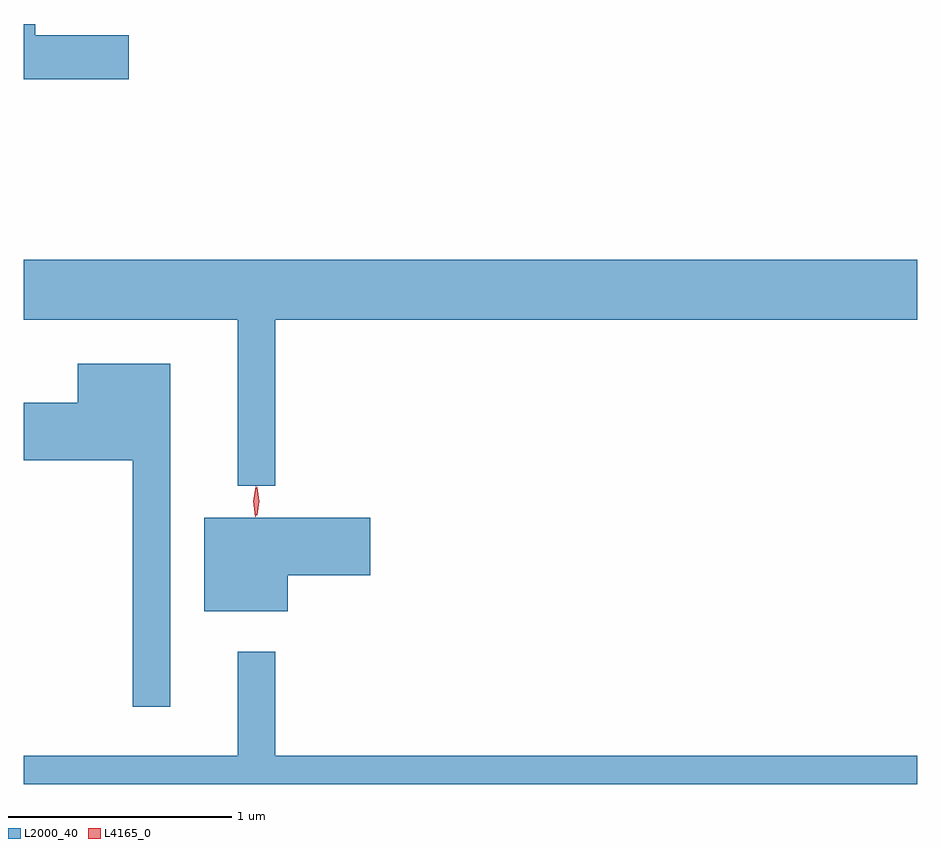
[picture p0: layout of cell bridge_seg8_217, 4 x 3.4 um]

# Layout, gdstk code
import gdstk
lib = gdstk.Library(unit=1e-6, precision=1e-09)
def P(c, l, *ps):  # polygons
    for p in ps: c.add(gdstk.Polygon(p, *l))
L2000_40 = (2000, 40)
L4165_0 = (4165, 0)

bridge_seg8_217 = lib.new_cell('bridge_seg8_217')
P(bridge_seg8_217, L2000_40, [(1164.944,1893.189),(1164.524,1893.189),(1164.524,1893.239),(1164.473,1893.239),(1164.473,1892.991),(1164.944,1892.991)],
  [(1165.599,1891.916),(1168.473,1891.916),(1168.473,1892.184),(1164.473,1892.184),(1164.473,1891.916),(1165.431,1891.916),(1165.431,1891.173),(1165.599,1891.173)],
  [(1165.129,1891.719),(1164.716,1891.719),(1164.716,1891.544),(1164.473,1891.544),(1164.473,1891.286),(1164.961,1891.286),(1164.961,1890.183),(1165.129,1890.183)],
  [(1165.654,1890.771),(1166.024,1890.771),(1166.024,1891.029),(1165.281,1891.029),(1165.281,1890.611),(1165.654,1890.611)],
  [(1168.473,1889.964),(1165.599,1889.964),(1165.599,1890.428),(1165.431,1890.428),(1165.431,1889.964),(1164.473,1889.964),(1164.473,1889.837),(1168.473,1889.837)])
P(bridge_seg8_217, L4165_0, [(1165.517,1891.04),(1165.517,1891.04),(1165.507,1891.103),(1165.517,1891.166),(1165.517,1891.167),(1165.518,1891.166),(1165.527,1891.103),(1165.518,1891.04)],
  [(1165.51,1891.034),(1165.51,1891.034),(1165.501,1891.102),(1165.512,1891.17),(1165.512,1891.17),(1165.512,1891.17),(1165.521,1891.102),(1165.511,1891.034)])

lib.write_gds('bridge_seg8_217.gds')
